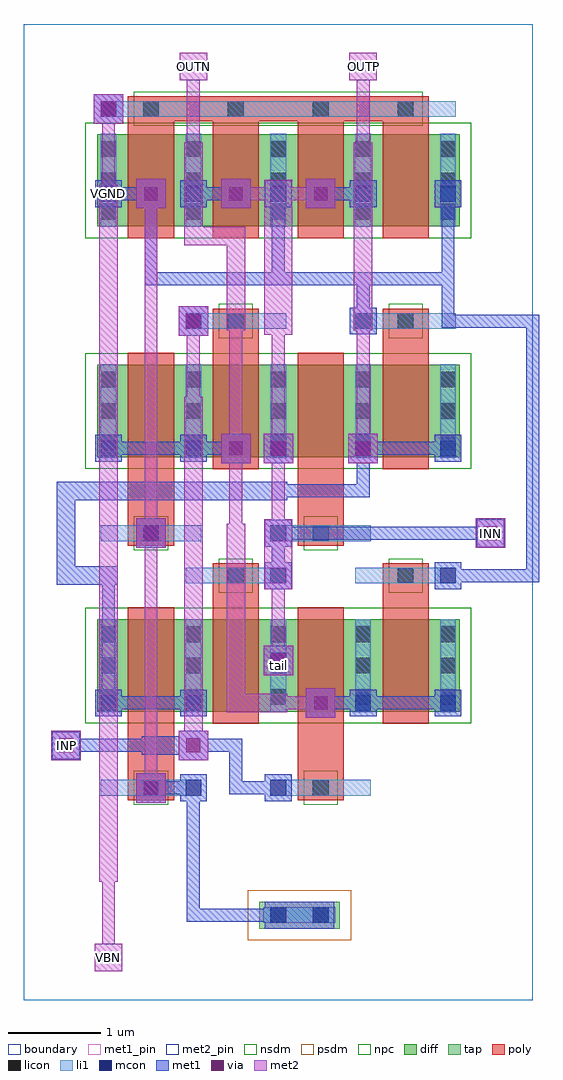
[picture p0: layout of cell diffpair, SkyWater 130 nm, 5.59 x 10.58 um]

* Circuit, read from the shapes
.subckt diffpair INN INP OUTN OUTP VBN VGND tail
XM1 OUTP VGND OUTP VGND sky130_fd_pr__nfet_01v8 w=1 l=0.5 m=2
XM2 OUTN VGND OUTN VGND sky130_fd_pr__nfet_01v8 w=1 l=0.5 m=2
XM3 tail VBN VGND VGND sky130_fd_pr__nfet_01v8 w=1 l=0.5 m=4
XM4 tail INN OUTP VGND sky130_fd_pr__nfet_01v8 w=1 l=0.5 m=2
XM5 tail INP OUTN VGND sky130_fd_pr__nfet_01v8 w=1 l=0.5 m=2
.ends

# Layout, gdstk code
import gdstk
lib = gdstk.Library(unit=1e-6, precision=1e-09)
def R(c, l, rs):  # rectangles x0, y0, x1, y1
    for r in rs: c.add(gdstk.rectangle(r[:2], r[2:], *l))
def A(c, l, x, y, w, h, nx, ny, dx, dy):  # array of equal rectangles
    R(c, l, [(x+i*dx, y+j*dy, x+i*dx+w, y+j*dy+h) for i in range(nx) for j in range(ny)])
diff = (65, 20)
tap = (65, 44)
poly = (66, 20)
licon = (66, 44)
li1 = (67, 20)
mcon = (67, 44)
met1_pin = (68, 16)
met1 = (68, 20)
via = (68, 44)
met2_pin = (69, 16)
met2 = (69, 20)
nsdm = (93, 44)
psdm = (94, 20)
npc = (95, 20)
boundary = (235, 4)

diffpair = lib.new_cell('diffpair')
R(diffpair, diff, [(0.795,3.125,4.725,4.125), (0.795,5.885,4.725,6.885), (0.795,8.385,4.725,9.385)])
R(diffpair, tap, [(2.555,0.775,3.425,1.065)])
A(diffpair, poly, 1.13, 8.255, 0.5, 1.405, 4, 1, 0.92, 0)
R(diffpair, poly, [(1.13,2.165,1.63,2.435), (2.97,2.165,3.47,2.435), (1.13,2.3,1.63,4.255), (2.97,2.3,3.47,4.255), (2.05,2.995,2.55,4.6), (3.89,2.995,4.39,4.6), (2.05,4.465,2.55,4.735), (3.89,4.465,4.39,4.735), (1.13,4.925,1.63,5.195), (2.97,4.925,3.47,5.195), (1.13,5.06,1.63,7.015), (2.97,5.06,3.47,7.015), (2.05,5.755,2.55,7.36), (3.89,5.755,4.39,7.36), (2.05,7.225,2.55,7.495), (3.89,7.225,4.39,7.495), (1.13,9.525,4.39,9.795)])
A(diffpair, licon, 0.835, 3.2, 0.17, 0.17, 5, 3, 0.92, 0.34)
A(diffpair, licon, 0.835, 5.96, 0.17, 0.17, 5, 3, 0.92, 0.34)
A(diffpair, licon, 0.835, 8.46, 0.17, 0.17, 5, 3, 0.92, 0.34)
A(diffpair, licon, 1.295, 9.575, 0.17, 0.17, 4, 1, 0.92, 0)
R(diffpair, licon, [(2.675,0.835,2.845,1.005), (3.135,0.835,3.305,1.005), (1.295,2.215,1.465,2.385), (3.135,2.215,3.305,2.385), (2.215,4.515,2.385,4.685), (4.055,4.515,4.225,4.685), (1.295,4.975,1.465,5.145), (3.135,4.975,3.305,5.145), (2.215,7.275,2.385,7.445), (4.055,7.275,4.225,7.445)])
A(diffpair, li1, 0.835, 3.12, 0.17, 1.01, 5, 2, 0.92, 2.76)
A(diffpair, li1, 0.835, 8.38, 0.17, 1.01, 5, 1, 0.92, 0)
R(diffpair, li1, [(2.595,0.835,3.385,1.005), (0.835,2.215,1.925,2.385), (2.675,2.215,3.765,2.385), (1.755,4.515,2.845,4.685), (3.595,4.515,4.685,4.685), (0.835,4.975,1.925,5.145), (2.675,4.975,3.765,5.145), (1.755,7.275,2.845,7.445), (3.595,7.275,4.685,7.445), (0.835,9.575,4.685,9.745)])
A(diffpair, mcon, 2.675, 0.835, 0.17, 0.17, 1, 3, 0, 1.38)
A(diffpair, mcon, 0.835, 5.895, 0.17, 0.17, 5, 2, 0.92, 2.76)
R(diffpair, mcon, [(3.135,0.835,3.305,1.005), (1.755,2.215,1.925,2.385), (0.835,3.135,1.005,3.305), (1.755,3.135,1.925,3.305), (3.595,3.135,3.765,3.305), (4.515,3.135,4.685,3.305), (2.675,4.515,2.845,4.685), (4.515,4.515,4.685,4.685), (1.295,4.975,1.465,5.145), (2.675,4.975,2.845,5.145), (1.755,7.275,1.925,7.445), (3.595,7.275,3.765,7.445), (0.835,9.575,1.005,9.745)])
R(diffpair, met1_pin, [(0.775,8.595,1.065,8.885)])
A(diffpair, met1, 0.775, 5.835, 0.29, 0.29, 5, 2, 0.92, 2.76)
A(diffpair, met1, 1.22, 8.58, 0.32, 0.32, 3, 1, 0.92, 0)
R(diffpair, met1, [(2.615,0.775,3.365,1.065), (1.77,0.85,2.83,0.99), (1.77,0.85,1.91,2.37), (2.69,0.85,2.83,0.99), (1.22,2.14,1.54,2.46), (1.695,2.155,1.985,2.445), (2.615,2.155,2.905,2.445), (1.31,2.23,1.91,2.37), (2.23,2.23,2.83,2.37), (2.23,2.23,2.37,2.83), (0.3,2.6,0.62,2.92), (1.68,2.6,2,2.92), (1.28,2.66,1.94,2.86), (0.39,2.69,1.45,2.83), (1.77,2.69,2.37,2.83), (3.06,3.06,3.38,3.38), (0.775,3.075,1.065,3.365), (1.695,3.075,1.985,3.365), (3.535,3.075,3.825,3.365), (4.455,3.075,4.745,3.365), (0.85,3.15,1.91,3.29), (0.85,3.15,0.99,4.67), (3.15,3.15,3.75,3.29), (3.61,3.15,4.67,3.29), (2.6,3.52,2.92,3.84), (2.615,3.535,2.905,3.825), (2.615,4.455,2.905,4.745), (4.455,4.455,4.745,4.745), (0.36,4.5,1.02,4.7), (0.36,4.5,0.56,5.62), (2.69,4.53,2.83,5.13), (4.53,4.53,5.59,4.67), (5.45,4.53,5.59,7.43), (1.22,4.9,1.54,5.22), (4.9,4.9,5.22,5.22), (1.235,4.915,1.525,5.205), (2.615,4.915,2.905,5.205), (2.69,4.99,5.13,5.13), (0.36,5.42,2.86,5.62), (2.69,5.45,3.75,5.59), (3.61,5.45,3.75,6.05), (2.14,5.82,2.46,6.14), (2.6,5.82,2.92,6.14), (3.52,5.82,3.84,6.14), (0.85,5.91,1.91,6.05), (1.77,5.91,2.37,6.05), (3.61,5.91,4.67,6.05), (1.68,7.2,2,7.52), (1.695,7.215,1.985,7.505), (3.535,7.215,3.825,7.505), (3.61,7.29,3.75,7.89), (4.53,7.29,5.59,7.43), (4.53,7.29,4.67,7.89), (1.31,7.75,1.45,8.81), (1.31,7.75,2.83,7.89), (2.69,7.75,3.75,7.89), (2.69,7.75,2.83,8.81), (3.61,7.75,4.67,7.89), (4.53,7.75,4.67,8.81), (0.85,8.67,1.45,8.81), (1.77,8.67,2.37,8.81), (3.15,8.67,3.75,8.81), (0.76,9.5,1.08,9.82), (0.775,9.515,1.065,9.805)])
A(diffpair, via, 1.305, 8.665, 0.15, 0.15, 3, 1, 0.92, 0)
R(diffpair, via, [(1.305,2.225,1.455,2.375), (0.385,2.685,0.535,2.835), (1.765,2.685,1.915,2.835), (3.145,3.145,3.295,3.295), (2.685,3.605,2.835,3.755), (1.305,4.985,1.455,5.135), (4.985,4.985,5.135,5.135), (2.225,5.905,2.375,6.055), (2.685,5.905,2.835,6.055), (3.605,5.905,3.755,6.055), (1.765,7.285,1.915,7.435), (0.845,9.585,0.995,9.735)])
R(diffpair, met2_pin, [(0.77,0.31,1.07,0.61), (0.31,2.61,0.61,2.91), (4.91,4.91,5.21,5.21), (1.69,9.97,1.99,10.27), (3.53,9.97,3.83,10.27)])
A(diffpair, met2, 1.22, 8.58, 0.32, 0.32, 3, 1, 0.92, 0)
R(diffpair, met2, [(0.77,0.31,1.07,0.61), (0.85,0.39,0.99,1.45), (0.85,0.39,0.99,0.53), (0.82,1.28,1.02,8.84), (1.22,2.14,1.54,2.46), (1.31,2.23,1.45,5.13), (0.3,2.6,0.62,2.92), (1.68,2.6,2,2.92), (0.31,2.61,0.61,2.91), (1.74,2.66,1.94,6.54), (0.39,2.69,0.53,2.83), (3.06,3.06,3.38,3.38), (2.2,3.12,2.4,5.16), (2.2,3.12,2.86,3.32), (2.69,3.15,3.29,3.29), (2.6,3.52,2.92,3.84), (2.69,3.61,2.83,4.67), (2.61,4.45,2.91,5.21), (1.22,4.9,1.54,5.22), (4.9,4.9,5.22,5.22), (4.91,4.91,5.21,5.21), (1.31,4.99,1.45,8.81), (2.23,4.99,2.37,6.05), (2.69,4.99,2.83,6.05), (4.99,4.99,5.13,5.13), (2.14,5.82,2.46,6.14), (2.6,5.82,2.92,6.14), (3.52,5.82,3.84,6.14), (2.23,5.91,2.37,7.43), (2.69,5.91,2.83,7.43), (3.61,5.91,3.75,7.43), (1.77,6.37,1.91,7.43), (1.68,7.2,2,7.52), (2.61,7.21,2.91,8.89), (2.2,7.26,2.4,8.38), (3.58,7.26,3.78,9.3), (1.74,8.18,2.4,8.38), (1.74,8.18,1.94,9.3), (0.85,8.67,0.99,9.73), (2.23,8.67,2.83,8.81), (2.69,8.67,3.29,8.81), (1.77,9.13,1.91,10.19), (3.61,9.13,3.75,10.19), (0.76,9.5,1.08,9.82), (1.69,9.97,1.99,10.27), (3.53,9.97,3.83,10.27), (1.77,10.05,1.91,10.19), (3.61,10.05,3.75,10.19)])
R(diffpair, nsdm, [(0.67,3,4.85,4.25), (0.67,5.76,4.85,7.01), (0.67,8.26,4.85,9.51)])
R(diffpair, psdm, [(2.43,0.65,3.55,1.19)])
R(diffpair, npc, [(1.195,2.115,1.565,2.485), (3.035,2.115,3.405,2.485), (2.115,4.415,2.485,4.785), (3.955,4.415,4.325,4.785), (1.195,4.875,1.565,5.245), (3.035,4.875,3.405,5.245), (2.115,7.175,2.485,7.545), (3.955,7.175,4.325,7.545), (1.195,9.475,4.325,9.845)])
R(diffpair, boundary, [(0,0,5.52,10.58)])
diffpair.add(gdstk.Label('tail', (2.76,3.625), layer=67, texttype=5))
diffpair.add(gdstk.Label('VGND', (0.92,8.74), layer=68, texttype=5))
diffpair.add(gdstk.Label('INP', (0.46,2.76), layer=69, texttype=5))
diffpair.add(gdstk.Label('INN', (5.06,5.06), layer=69, texttype=5))
diffpair.add(gdstk.Label('VBN', (0.92,0.46), layer=69, texttype=5))
diffpair.add(gdstk.Label('OUTP', (3.68,10.12), layer=69, texttype=5))
diffpair.add(gdstk.Label('OUTN', (1.84,10.12), layer=69, texttype=5))
diffpair.add(gdstk.Label('VGND', (0.92,8.74), layer=68, texttype=16))
diffpair.add(gdstk.Label('INP', (0.46,2.76), layer=69, texttype=16))
diffpair.add(gdstk.Label('INN', (5.06,5.06), layer=69, texttype=16))
diffpair.add(gdstk.Label('VBN', (0.92,0.46), layer=69, texttype=16))
diffpair.add(gdstk.Label('OUTP', (3.68,10.12), layer=69, texttype=16))
diffpair.add(gdstk.Label('OUTN', (1.84,10.12), layer=69, texttype=16))

lib.write_gds('diffpair.gds')
